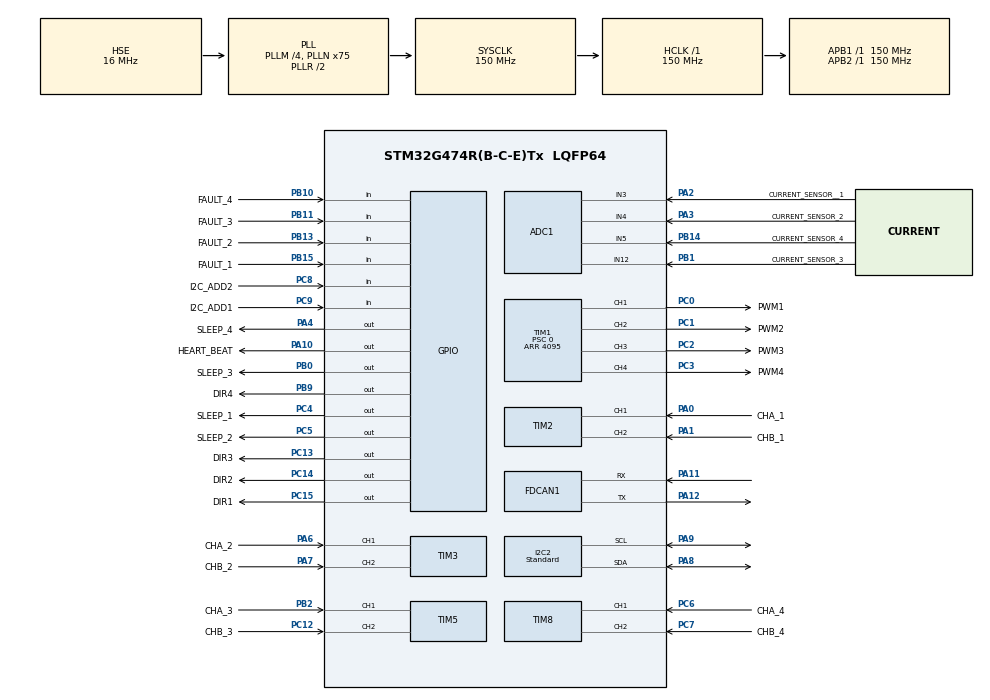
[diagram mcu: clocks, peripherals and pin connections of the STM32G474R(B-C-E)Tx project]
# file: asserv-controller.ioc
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ADC1.Channel-0\#ChannelRegularConversion=ADC_CHANNEL_3
ADC1.NbrOfConversionFlag=1
ADC1.OffsetNumber-0\#ChannelRegularConversion=ADC_OFFSET_NONE
ADC1.Rank-0\#ChannelRegularConversion=1
ADC1.SamplingTime-0\#ChannelRegularConversion=ADC_SAMPLETIME_2CYCLES_5
ADC1.master=1
FDCAN1.CalculateBaudRateNominal=2000000
FDCAN1.CalculateTimeBitNominal=500
FDCAN1.CalculateTimeQuantumNominal=100.0
FDCAN1.NominalPrescaler=15
FDCAN1.NominalTimeSeg1=2
FDCAN1.NominalTimeSeg2=2
FDCAN1.StdFiltersNbr=1
FREERTOS.Tasks01=defaultTask,24,128,StartDefaultTask,Default,NULL,Dynamic,NULL,NULL
FREERTOS.Timers01=heartBeatTimer,heartBeatCallback,osTimerPeriodic,Default,NULL,Dynamic,NULL;adcTimer,adcCallback,osTimerPeriodic,Default,NULL,Dynamic,NULL
FREERTOS.configUSE_NEWLIB_REENTRANT=1
I2C2.I2C_Speed_Mode=I2C_Standard
I2C2.Timing=0x30D293D6
Mcu.Family=STM32G4
Mcu.Name=STM32G474R(B-C-E)Tx
Mcu.Package=LQFP64
NVIC.PriorityGroup=NVIC_PRIORITYGROUP_4
NVIC.TIM4_IRQn=true\:15\:0\:false\:false\:true\:false\:false\:true\:true
NVIC.TimeBase=TIM4_IRQn
NVIC.TimeBaseIP=TIM4
PA0.GPIO_Label=CHA_1
PA0.Signal=S_TIM2_CH1
PA1.GPIO_Label=CHB_1
PA1.Signal=S_TIM2_CH2
PA10.GPIO_Label=HEART_BEAT
PA10.Signal=GPIO_Output
PA11.Mode=FDCAN_Activate
PA11.Signal=FDCAN1_RX
PA12.Mode=FDCAN_Activate
PA12.Signal=FDCAN1_TX
PA13.Mode=Trace_Asynchronous_SW
PA13.Signal=SYS_JTMS-SWDIO
PA14.Mode=Trace_Asynchronous_SW
PA14.Signal=SYS_JTCK-SWCLK
PA2.GPIO_Label=CURRENT_SENSOR__1
PA2.Mode=IN3-Single-Ended
PA2.Signal=ADC1_IN3
PA3.GPIO_Label=CURRENT_SENSOR_2
PA3.Mode=IN4-Single-Ended
PA3.Signal=ADC1_IN4
PA4.GPIO_Label=SLEEP_4
PA4.Signal=GPIO_Output
PA5.GPIO_Label=IDX_1
PA5.Signal=S_TIM2_ETR
PA6.GPIO_Label=CHA_2
PA6.Signal=S_TIM3_CH1
PA7.GPIO_Label=CHB_2
PA7.Signal=S_TIM3_CH2
PA8.Mode=I2C
PA8.Signal=I2C2_SDA
PA9.Mode=I2C
PA9.Signal=I2C2_SCL
PB0.GPIO_Label=SLEEP_3
PB0.Signal=GPIO_Output
PB1.GPIO_Label=CURRENT_SENSOR_3
PB1.Mode=IN12-Single-Ended
PB1.Signal=ADC1_IN12
PB10.GPIO_Label=FAULT_4
PB10.Signal=GPIO_Input
PB11.GPIO_Label=FAULT_3
PB11.Signal=GPIO_Input
PB12.GPIO_Label=IDX_3
PB12.Signal=S_TIM5_ETR
PB13.GPIO_Label=FAULT_2
PB13.Signal=GPIO_Input
PB14.GPIO_Label=CURRENT_SENSOR_4
PB14.Mode=IN5-Single-Ended
PB14.Signal=ADC1_IN5
PB15.GPIO_Label=FAULT_1
PB15.Signal=GPIO_Input
PB2.GPIO_Label=CHA_3
PB2.Signal=S_TIM5_CH1
PB3.Mode=Trace_Asynchronous_SW
PB3.Signal=SYS_JTDO-SWO
PB6.GPIO_Label=IDX_4
PB6.Signal=S_TIM8_ETR
PB9.GPIO_Label=DIR4
PB9.Signal=GPIO_Output
PC0.GPIO_Label=PWM1
PC0.Signal=S_TIM1_CH1
PC1.GPIO_Label=PWM2
PC1.Signal=S_TIM1_CH2
PC12.GPIO_Label=CHB_3
PC12.Signal=S_TIM5_CH2
PC13.GPIO_Label=DIR3
PC13.Signal=GPIO_Output
PC14-OSC32_IN.GPIO_Label=DIR2
PC14-OSC32_IN.Signal=GPIO_Output
PC15-OSC32_OUT.GPIO_Label=DIR1
PC15-OSC32_OUT.Signal=GPIO_Output
PC2.GPIO_Label=PWM3
PC2.Signal=S_TIM1_CH3
PC3.GPIO_Label=PWM4
PC3.Signal=S_TIM1_CH4
PC4.GPIO_Label=SLEEP_1
PC4.PinState=GPIO_PIN_SET
PC4.Signal=GPIO_Output
PC5.GPIO_Label=SLEEP_2
PC5.PinState=GPIO_PIN_SET
PC5.Signal=GPIO_Output
PC6.GPIO_Label=CHA_4
PC6.Signal=S_TIM8_CH1
PC7.GPIO_Label=CHB_4
PC7.Signal=S_TIM8_CH2
PC8.GPIO_Label=I2C_ADD2
PC8.Signal=GPIO_Input
PC9.GPIO_Label=I2C_ADD1
PC9.Signal=GPIO_Input
PD2.GPIO_Label=IDX_2
PD2.Signal=S_TIM3_ETR
PF0-OSC_IN.Mode=HSE-External-Oscillator
PF0-OSC_IN.Signal=RCC_OSC_IN
PF1-OSC_OUT.Mode=HSE-External-Oscillator
PF1-OSC_OUT.Signal=RCC_OSC_OUT
ProjectManager.HeapSize=0x200
ProjectManager.StackSize=0x400
ProjectManager.TargetToolchain=STM32CubeIDE
RCC.ADC12Freq_Value=150000000
RCC.ADC345Freq_Value=150000000
RCC.AHBFreq_Value=150000000
RCC.APB1Freq_Value=150000000
RCC.APB1TimFreq_Value=150000000
RCC.APB2Freq_Value=150000000
RCC.APB2TimFreq_Value=150000000
RCC.CortexFreq_Value=150000000
RCC.EXTERNAL_CLOCK_VALUE=12288000
RCC.HCLKFreq_Value=150000000
RCC.HSE_VALUE=16000000
RCC.HSI48_VALUE=48000000
RCC.HSI_VALUE=16000000
RCC.LSE_VALUE=32768
RCC.PLLM=RCC_PLLM_DIV4
RCC.PLLN=75
RCC.PLLSourceVirtual=RCC_PLLSOURCE_HSE
RCC.SYSCLKFreq_VALUE=150000000
RCC.SYSCLKSource=RCC_SYSCLKSOURCE_PLLCLK
RCC.USBFreq_Value=150000000
RCC.VCOOutputFreq_Value=300000000
SH.S_TIM1_CH1.0=TIM1_CH1,PWM Generation1 CH1
SH.S_TIM1_CH2.0=TIM1_CH2,PWM Generation2 CH2
SH.S_TIM1_CH3.0=TIM1_CH3,PWM Generation3 CH3
SH.S_TIM1_CH4.0=TIM1_CH4,PWM Generation4 CH4
SH.S_TIM2_CH1.0=TIM2_CH1,Encoder_Interface
SH.S_TIM2_CH2.0=TIM2_CH2,Encoder_Interface
SH.S_TIM2_ETR.0=TIM2_ETR
SH.S_TIM3_CH1.0=TIM3_CH1,Encoder_Interface
SH.S_TIM3_CH2.0=TIM3_CH2,Encoder_Interface
SH.S_TIM3_ETR.0=TIM3_ETR
SH.S_TIM5_CH1.0=TIM5_CH1,Encoder_Interface
SH.S_TIM5_CH2.0=TIM5_CH2,Encoder_Interface
SH.S_TIM5_ETR.0=TIM5_ETR
SH.S_TIM8_CH1.0=TIM8_CH1,Encoder_Interface
SH.S_TIM8_CH2.0=TIM8_CH2,Encoder_Interface
SH.S_TIM8_ETR.0=TIM8_ETR
TIM1.Channel-PWM\ Generation1\ CH1=TIM_CHANNEL_1
TIM1.Channel-PWM\ Generation2\ CH2=TIM_CHANNEL_2
TIM1.Channel-PWM\ Generation3\ CH3=TIM_CHANNEL_3
TIM1.Channel-PWM\ Generation4\ CH4=TIM_CHANNEL_4
TIM1.PeriodNoDither=4095
TIM1.Prescaler=0
TIM2.EncoderMode=TIM_ENCODERMODE_TI12
TIM3.EncoderMode=TIM_ENCODERMODE_TI12
TIM5.EncoderMode=TIM_ENCODERMODE_TI12
TIM8.EncoderMode=TIM_ENCODERMODE_TI12
VP_FREERTOS_VS_CMSIS_V2.Mode=CMSIS_V2
VP_SYS_VS_DBSignals.Mode=DisableDeadBatterySignals
VP_SYS_VS_tim4.Mode=TIM4
VP_TIM1_VS_ClockSourceINT.Mode=Internal
board=custom

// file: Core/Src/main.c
/* USER CODE BEGIN Header */
/**
  ******************************************************************************
  * @file           : main.c
  * @brief          : Main program body
  ******************************************************************************
  * @attention
  *
  * Copyright (c) 2023 STMicroelectronics.
  * All rights reserved.
  *
  * This software is licensed under terms that can be found in the LICENSE file
  * in the root directory of this software component.
  * If no LICENSE file comes with this software, it is provided AS-IS.
  *
  ******************************************************************************
  */
/* USER CODE END Header */
#include "main.h"
#include "cmsis_os.h"
#include "adc.h"
#include "fdcan.h"
#include "i2c.h"
#include "tim.h"
#include "gpio.h"

/* USER CODE BEGIN Includes */
#include "itm_log.h"
/* USER CODE END Includes */

/* USER CODE BEGIN PV */
EncoderConfiguration encoderConfiguration;
MotorConfiguration motorConfiguration;
/* USER CODE END PV */

void SystemClock_Config(void);
void MX_FREERTOS_Init(void);

int main(void)
{

  /* USER CODE BEGIN 1 */
  LOG_INFO("main: MCU Configuration");
  /* USER CODE END 1 */

  /* MCU Configuration--------------------------------------------------------*/

  /* Reset of all peripherals, Initializes the Flash interface and the Systick. */
  HAL_Init();

  /* USER CODE BEGIN Init */
  LOG_INFO("main: Begin Init");
  /* USER CODE END Init */

  /* Configure the system clock */
  SystemClock_Config();

  /* USER CODE BEGIN SysInit */
  LOG_INFO("main: Begin SysInit");
  /* USER CODE END SysInit */

  /* Initialize all configured peripherals */
  MX_GPIO_Init();
  MX_FDCAN1_Init();
  MX_TIM1_Init();
  MX_TIM2_Init();
  MX_TIM3_Init();
  MX_TIM5_Init();
  MX_TIM8_Init();
  MX_I2C2_Init();
  MX_ADC1_Init();

  /* Init scheduler */
  osKernelInitialize();  /* Call init function for freertos objects (in cmsis_os2.c) */
  MX_FREERTOS_Init();

  /* Start scheduler */
  osKernelStart();

  /* We should never get here as control is now taken by the scheduler */

  /* Infinite loop */
  /* USER CODE BEGIN WHILE */
  // ReSharper disable once CppDFAEndlessLoop
  while (true)
  {
    /* USER CODE END WHILE */

    /* USER CODE BEGIN 3 */
    LOG_WARN("main: Execution après init de FreeRTOS. Tres bizarre");
  }
  /* USER CODE END 3 */
}

void SystemClock_Config(void)
{
  RCC_OscInitTypeDef RCC_OscInitStruct = {0};
  RCC_ClkInitTypeDef RCC_ClkInitStruct = {0};

  /** Configure the main internal regulator output voltage
  */
  HAL_PWREx_ControlVoltageScaling(PWR_REGULATOR_VOLTAGE_SCALE1);

  /** Initializes the RCC Oscillators according to the specified parameters
  * in the RCC_OscInitTypeDef structure.
  */
  RCC_OscInitStruct.OscillatorType = RCC_OSCILLATORTYPE_HSE;
  RCC_OscInitStruct.HSEState = RCC_HSE_ON;
  RCC_OscInitStruct.PLL.PLLState = RCC_PLL_ON;
  RCC_OscInitStruct.PLL.PLLSource = RCC_PLLSOURCE_HSE;
  RCC_OscInitStruct.PLL.PLLM = RCC_PLLM_DIV4;
  RCC_OscInitStruct.PLL.PLLN = 75;
  RCC_OscInitStruct.PLL.PLLP = RCC_PLLP_DIV2;
  RCC_OscInitStruct.PLL.PLLQ = RCC_PLLQ_DIV2;
  RCC_OscInitStruct.PLL.PLLR = RCC_PLLR_DIV2;
  if (HAL_RCC_OscConfig(&RCC_OscInitStruct) != HAL_OK)
  {
    Error_Handler();
  }

  /** Initializes the CPU, AHB and APB buses clocks
  */
  RCC_ClkInitStruct.ClockType = RCC_CLOCKTYPE_HCLK|RCC_CLOCKTYPE_SYSCLK
                              |RCC_CLOCKTYPE_PCLK1|RCC_CLOCKTYPE_PCLK2;
  RCC_ClkInitStruct.SYSCLKSource = RCC_SYSCLKSOURCE_PLLCLK;
  RCC_ClkInitStruct.AHBCLKDivider = RCC_SYSCLK_DIV1;
  RCC_ClkInitStruct.APB1CLKDivider = RCC_HCLK_DIV1;
  RCC_ClkInitStruct.APB2CLKDivider = RCC_HCLK_DIV1;

  if (HAL_RCC_ClockConfig(&RCC_ClkInitStruct, FLASH_LATENCY_4) != HAL_OK)
  {
    Error_Handler();
  }
}

void HAL_TIM_PeriodElapsedCallback(TIM_HandleTypeDef *htim)
{
  if (htim->Instance == TIM4)
  {
    HAL_IncTick();
  }
}

void Error_Handler(void)
{
  /* USER CODE BEGIN Error_Handler_Debug */
  LOG_ERROR("main: ERROR HANDLER");

  /* User can add his own implementation to report the HAL error return state */
  __disable_irq();

  // ReSharper disable once CppDFAEndlessLoop
  while (true)
  {
    HAL_GPIO_WritePin(HEART_BEAT_GPIO_Port, HEART_BEAT_Pin, GPIO_PIN_RESET);
    osDelay(1000);
    for (int i = 0 ; i < 10 ; i++) {
      HAL_GPIO_TogglePin(HEART_BEAT_GPIO_Port, HEART_BEAT_Pin);
      osDelay(100);
    }
  }
  /* USER CODE END Error_Handler_Debug */
}

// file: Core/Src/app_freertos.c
/* USER CODE BEGIN Header */
/**
  ******************************************************************************
  * File Name          : app_freertos.c
  * Description        : Code for freertos applications
  ******************************************************************************
  * @attention
  *
  * Copyright (c) 2023 STMicroelectronics.
  * All rights reserved.
  *
  * This software is licensed under terms that can be found in the LICENSE file
  * in the root directory of this software component.
  * If no LICENSE file comes with this software, it is provided AS-IS.
  *
  ******************************************************************************
  */
/* USER CODE END Header */

#include "FreeRTOS.h"
#include "task.h"
#include "main.h"
#include "cmsis_os.h"

/* USER CODE BEGIN Includes */
#include "tim.h"
#include "itm_log.h"
#include "fdcan.h"
/* USER CODE END Includes */

/* USER CODE BEGIN Variables */
bool encoderAlternateRead = false;
bool motorAlternateWrite = false;

static int16_t encoder1Value = 0;
static int16_t encoder2Value = 0;

/* USER CODE END Variables */
/* Definitions for defaultTask */
osThreadId_t defaultTaskHandle;
const osThreadAttr_t defaultTask_attributes = {
  .name = "defaultTask",
  .priority = (osPriority_t) osPriorityNormal,
  .stack_size = 128 * 4
};
/* Definitions for heartBeatTimer */
osTimerId_t heartBeatTimerHandle;
const osTimerAttr_t heartBeatTimer_attributes = {
  .name = "heartBeatTimer"
};
/* Definitions for adcTimer */
osTimerId_t adcTimerHandle;
const osTimerAttr_t adcTimer_attributes = {
  .name = "adcTimer"
};

/* USER CODE BEGIN FunctionPrototypes */
void notifyVersion(FDCAN_TxHeaderTypeDef txHeader);
void notifyEncoders(FDCAN_TxHeaderTypeDef txHeader);

void setMotorSpeed(uint16_t pwmMotor1, bool dirMotor1, uint16_t pwmMotor2, bool dirMotor2);

/* USER CODE END FunctionPrototypes */

void StartDefaultTask(void *argument);
void heartBeatCallback(void *argument);
void adcCallback(void *argument);

void MX_FREERTOS_Init(void); /* (MISRA C 2004 rule 8.1) */

void MX_FREERTOS_Init(void) {
  /* USER CODE BEGIN Init */
  LOG_INFO("freertos: Init FreeRTOS");
  /* USER CODE END Init */

  /* Create the timer(s) */
  /* creation of heartBeatTimer */
  heartBeatTimerHandle = osTimerNew(heartBeatCallback, osTimerPeriodic, NULL, &heartBeatTimer_attributes);

  /* creation of adcTimer */
  adcTimerHandle = osTimerNew(adcCallback, osTimerPeriodic, NULL, &adcTimer_attributes);

  /* Create the thread(s) */
  /* creation of defaultTask */
  defaultTaskHandle = osThreadNew(StartDefaultTask, NULL, &defaultTask_attributes);

}

void StartDefaultTask(void *argument)
{
  /* USER CODE BEGIN StartDefaultTask */
  LOG_INFO("mainTask: Start");

  LOG_INFO("mainTask: Init variables");
  encoderConfiguration.encoder1Enabled = false;
  encoderConfiguration.encoder1Inverted = false;
  encoderConfiguration.encoder2Enabled = false;
  encoderConfiguration.encoder2Inverted = false;
  encoderConfiguration.encoder3Enabled = false;
  encoderConfiguration.encoder3Inverted = false;
  encoderConfiguration.encoder4Enabled = false;
  encoderConfiguration.encoder4Inverted = false;

  motorConfiguration.motor1Enabled = false;
  motorConfiguration.motor1Inverted = false;
  motorConfiguration.motor2Enabled = false;
  motorConfiguration.motor2Inverted = false;
  motorConfiguration.motor3Enabled = false;
  motorConfiguration.motor3Inverted = false;
  motorConfiguration.motor4Enabled = false;
  motorConfiguration.motor4Inverted = false;

  LOG_INFO("mainTask: Start FDCan listener");
  HAL_FDCAN_Start(&hfdcan1);

  LOG_INFO("mainTask: Start encoders");
  HAL_TIM_Encoder_Start(&htim2, TIM_CHANNEL_ALL);
  HAL_TIM_Encoder_Start(&htim3, TIM_CHANNEL_ALL);

  LOG_INFO("mainTask: Init PWMs");
  htim1.Instance->CCR1 = 0;
  htim1.Instance->CCR2 = 0;
  HAL_TIM_PWM_Start(&htim1, TIM_CHANNEL_1 | TIM_CHANNEL_2);

  // Start timers after boot init
  osTimerStart(heartBeatTimerHandle, 1000);
  osTimerStart(adcTimerHandle, 2000);

  /* Prepare FDCAN Tx */
  FDCAN_TxHeaderTypeDef TxHeader;

  TxHeader.IdType = FDCAN_STANDARD_ID;
  TxHeader.TxFrameType = FDCAN_DATA_FRAME;
  TxHeader.ErrorStateIndicator = FDCAN_ESI_ACTIVE;
  TxHeader.BitRateSwitch = FDCAN_BRS_OFF;
  TxHeader.FDFormat = FDCAN_CLASSIC_CAN;
  TxHeader.TxEventFifoControl = FDCAN_NO_TX_EVENTS;
  TxHeader.MessageMarker = 0;
  TxHeader.Identifier = 0;
  TxHeader.DataLength = 0;

  /* Infinite loop */
  // ReSharper disable once CppDFAEndlessLoop
  while(true)
  {
    /* Read encoders */
    if (encoderAlternateRead) {
      encoder1Value += htim2.Instance->CNT;
      htim2.Instance->CNT = 0;
      encoder2Value += htim3.Instance->CNT;
      htim3.Instance->CNT = 0;

    } else {
      encoder2Value += htim3.Instance->CNT;
      htim3.Instance->CNT = 0;
      encoder1Value += htim2.Instance->CNT;
      htim2.Instance->CNT = 0;
    }
    encoderAlternateRead = !encoderAlternateRead;

    /* Check if a message is come */
    FDCAN_RxHeaderTypeDef RxHeader;
    uint8_t               RxData[5];
    HAL_StatusTypeDef canRequest = HAL_FDCAN_GetRxMessage(&hfdcan1, FDCAN_RX_FIFO0, &RxHeader, RxData);
    if (canRequest == HAL_OK) {
      TxHeader.Identifier = RxHeader.Identifier;
      if (RxHeader.Identifier == SET_MOTOR_CONFIGURATION_ID) {
        motorConfiguration.motor1Inverted = RxData[0] & 0x01;
        motorConfiguration.motor2Inverted = RxData[0] & 0x02;

      } else if (RxHeader.Identifier == SET_ENCODER_CONFIGURATION_ID) {
        encoderConfiguration.encoder1Inverted = RxData[0] & 0x01;
        encoderConfiguration.encoder2Inverted = RxData[0] & 0x02;

      } else if (RxHeader.Identifier == SET_MOTOR_SPEED_ID) {
        uint16_t pwmMotor1 = (RxData[0] << 8) | RxData[1];
        uint16_t pwmMotor2 = (RxData[2] << 8) | RxData[3];
        bool dirMotor1 = RxData[4] & 0x01;
        bool dirMotor2 = RxData[4] & 0x02;
        setMotorSpeed(pwmMotor1, dirMotor1, pwmMotor2, dirMotor2);

      } else if (RxHeader.Identifier == GET_MOTOR_ID) {
        // Not Yet Implemented

      } else if (RxHeader.Identifier == GET_ENCODER_ID) {
        notifyEncoders(TxHeader);

      } else if (RxHeader.Identifier == GET_VERSION) {
        notifyVersion(TxHeader);

      } else {
        LOG_WARN("mainTask: Unknown message");
      }
    }

    osDelay(1);

  }
  /* USER CODE END StartDefaultTask */
}

/* heartBeatCallback function */
void heartBeatCallback(void *argument)
{
  /* USER CODE BEGIN heartBeatCallback */
  HAL_GPIO_TogglePin(HEART_BEAT_GPIO_Port, HEART_BEAT_Pin);
  /* USER CODE END heartBeatCallback */
}

/* adcCallback function */
void adcCallback(void *argument)
{
}

/* USER CODE BEGIN Application */
void notifyVersion(FDCAN_TxHeaderTypeDef txHeader) {
  LOG_INFO("notifyVersion");

  // Notify
  txHeader.Identifier = GET_VERSION;
  txHeader.DataLength = sizeof(VERSION_SHORT);

  uint8_t txBuffer[sizeof(VERSION_SHORT)];
  for (int i = 0 ; i < sizeof(VERSION_SHORT) ; i++) {
    txBuffer[i] = VERSION_SHORT[i];
  }

  if (HAL_FDCAN_AddMessageToTxFifoQ(&hfdcan1, &txHeader, txBuffer) != HAL_OK) {
    /* Transmission request Error */
    Error_Handler();
  }
}

void notifyEncoders(FDCAN_TxHeaderTypeDef txHeader) {
  // Send values
  txHeader.Identifier = GET_ENCODER_ID;
  txHeader.DataLength = FDCAN_DLC_BYTES_4;

  uint8_t txBuffer[FDCAN_DLC_BYTES_4];

  // Encoder 1
  if (encoderConfiguration.encoder1Inverted) {
    encoder1Value = -encoder1Value;
  }
  txBuffer[0] = encoder1Value >> 8;
  txBuffer[1] = encoder1Value & 0xFF;
  encoder1Value = 0;

  // Encoder 2
  if (encoderConfiguration.encoder2Inverted) {
    encoder2Value = -encoder2Value;
  }
  txBuffer[2] = encoder2Value >> 8;
  txBuffer[3] = encoder2Value & 0xFF;
  encoder2Value = 0;

  if (HAL_FDCAN_AddMessageToTxFifoQ(&hfdcan1, &txHeader, txBuffer) != HAL_OK) {
    /* Transmission request Error */
    Error_Handler();
  }
}

void setMotorSpeed(uint16_t pwmMotor1, bool dirMotor1, uint16_t pwmMotor2, bool dirMotor2) {
  // Set motor 1
  if (motorConfiguration.motor1Inverted) {
    dirMotor1 = !dirMotor1;
  }
  HAL_GPIO_WritePin(DIR1_GPIO_Port, DIR1_Pin, dirMotor1 ? GPIO_PIN_SET : GPIO_PIN_RESET);
  if (pwmMotor1 > 4096) {
    pwmMotor1 = 4096;
  }
  htim1.Instance->CCR1 = pwmMotor1;

  // Set motor 2
  if (motorConfiguration.motor2Inverted) {
    dirMotor2 = !dirMotor2;
  }
  if (pwmMotor2 > 4096) {
    pwmMotor2 = 4096;
  }
  HAL_GPIO_WritePin(DIR2_GPIO_Port, DIR2_Pin, dirMotor2 ? GPIO_PIN_SET : GPIO_PIN_RESET);
  htim1.Instance->CCR2 = pwmMotor2;

  // Refresh PWMs
  if (motorAlternateWrite) {
    HAL_TIM_PWM_Start(&htim1, TIM_CHANNEL_1);
    HAL_TIM_PWM_Start(&htim1, TIM_CHANNEL_2);
  } else {
    HAL_TIM_PWM_Start(&htim1, TIM_CHANNEL_2);
    HAL_TIM_PWM_Start(&htim1, TIM_CHANNEL_1);
  }
  motorAlternateWrite = !motorAlternateWrite;
}

/* USER CODE END Application */
